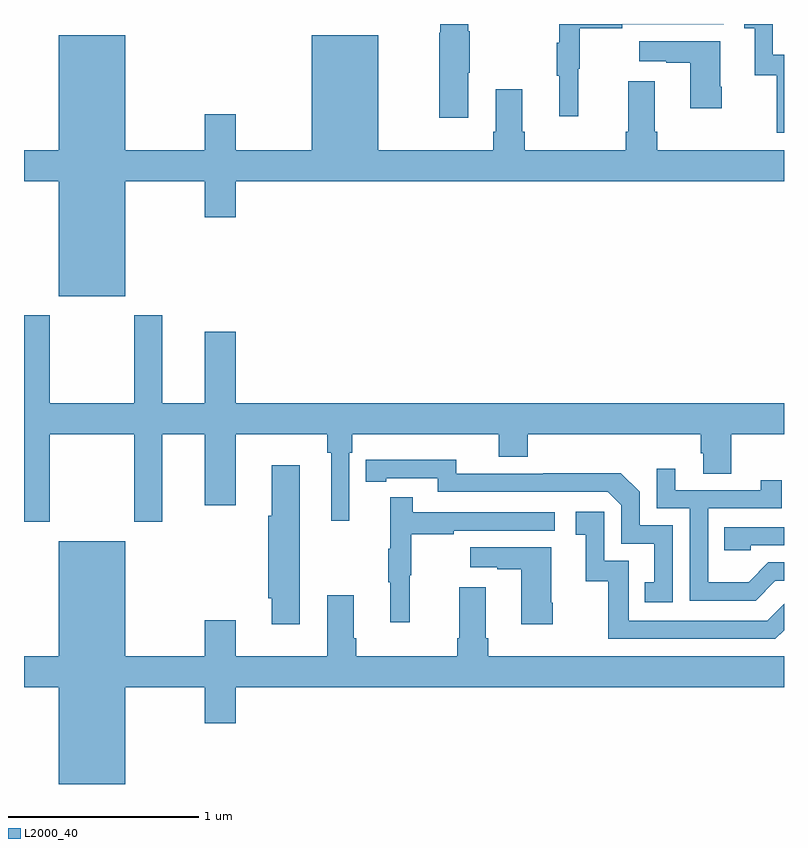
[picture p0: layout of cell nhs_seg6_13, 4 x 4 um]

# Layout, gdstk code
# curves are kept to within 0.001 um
import gdstk
lib = gdstk.Library(unit=1e-6, precision=1e-09)
def P(c, l, *ps):  # polygons
    for p in ps: c.add(gdstk.Polygon(p, *l))
L2000_40 = (2000, 40)

nhs_seg6_13 = lib.new_cell('nhs_seg6_13')
P(nhs_seg6_13, L2000_40, [(113.918,945.264),(113.926,945.264),(113.926,945.478),(114.149,945.478),(114.149,945.498),(114.682,945.498),(114.682,945.5),(113.816,945.5),(113.816,945.401),(113.805,945.401),(113.805,945.227),(113.816,945.227),(113.816,945.015),(113.918,945.015)],
  [(113.338,945.244),(113.346,945.244),(113.346,945.461),(113.338,945.461),(113.338,945.5),(113.192,945.5),(113.192,945.455),(113.185,945.455),(113.185,945.006),(113.338,945.006)],
  [(115,945.339),(114.942,945.339),(114.942,945.5),(114.792,945.5),(114.792,945.477),(114.845,945.477),(114.845,945.231),(114.963,945.231),(114.963,944.928),(115,944.928)],
  [(111.532,944.672),(111.95,944.672),(111.95,944.484),(112.114,944.484),(112.114,944.672),(115,944.672),(115,944.836),(114.332,944.836),(114.332,944.932),(114.319,944.932),(114.319,945.199),(114.179,945.199),(114.179,944.932),(114.167,944.932),(114.167,944.836),(113.636,944.836),(113.636,944.932),(113.623,944.932),(113.623,945.157),(113.483,945.157),(113.483,944.932),(113.471,944.932),(113.471,944.836),(112.864,944.836),(112.864,945.442),(112.514,945.442),(112.514,944.836),(112.114,944.836),(112.114,945.025),(111.95,945.025),(111.95,944.836),(111.532,944.836),(111.532,945.442),(111.182,945.442),(111.182,944.836),(111,944.836),(111,944.672),(111.182,944.672),(111.182,944.066),(111.532,944.066)],
  [(114.672,945.169),(114.664,945.169),(114.664,945.409),(114.237,945.409),(114.237,945.305),(114.38,945.305),(114.38,945.295),(114.506,945.295),(114.506,945.057),(114.672,945.057)],
  [(111.135,943.34),(111.58,943.34),(111.58,942.879),(111.727,942.879),(111.727,943.34),(111.95,943.34),(111.95,942.966),(112.114,942.966),(112.114,943.34),(112.597,943.34),(112.597,943.244),(112.616,943.244),(112.616,942.885),(112.713,942.885),(112.713,943.244),(112.727,943.244),(112.727,943.34),(113.498,943.34),(113.498,943.223),(113.651,943.223),(113.651,943.34),(114.563,943.34),(114.563,943.242),(114.575,943.242),(114.575,943.132),(114.723,943.132),(114.723,943.34),(115,943.34),(115,943.504),(112.114,943.504),(112.114,943.879),(111.95,943.879),(111.95,943.504),(111.727,943.504),(111.727,943.966),(111.58,943.966),(111.58,943.504),(111.135,943.504),(111.135,943.966),(111,943.966),(111,942.879),(111.135,942.879)],
  [(114.414,942.861),(114.24,942.861),(114.24,943.038),(114.142,943.136),(113.734,943.136),(113.734,943.134),(113.274,943.134),(113.274,943.207),(112.798,943.206),(112.798,943.09),(112.906,943.09),(112.906,943.11),(113.178,943.11),(113.178,943.038),(114.072,943.038),(114.144,942.966),(114.144,942.765),(114.317,942.765),(114.317,942.561),(114.268,942.561),(114.268,942.456),(114.414,942.456)],
  [(112.45,943.177),(112.304,943.177),(112.304,942.913),(112.286,942.913),(112.286,942.477),(112.304,942.477),(112.304,942.342),(112.45,942.342)],
  [(114.955,942.57),(115,942.57),(115,942.666),(114.918,942.666),(114.814,942.562),(114.6,942.562),(114.6,942.951),(114.989,942.951),(114.989,943.099),(114.878,943.099),(114.878,943.047),(114.427,943.047),(114.427,943.159),(114.33,943.159),(114.33,942.951),(114.504,942.951),(114.504,942.465),(114.85,942.465)],
  [(113.03,942.6),(113.038,942.6),(113.038,942.814),(113.261,942.814),(113.261,942.834),(113.794,942.834),(113.794,942.93),(113.045,942.93),(113.045,943.009),(112.928,943.009),(112.928,942.737),(112.917,942.737),(112.917,942.563),(112.928,942.563),(112.928,942.351),(113.03,942.351)],
  [(115,942.31),(115,942.448),(114.912,942.36),(114.183,942.36),(114.183,942.675),(114.054,942.675),(114.054,942.934),(113.904,942.934),(113.904,942.813),(113.957,942.813),(113.957,942.567),(114.075,942.567),(114.075,942.264),(114.954,942.264)],
  [(114.825,942.756),(115,942.756),(115,942.852),(114.685,942.852),(114.685,942.729),(114.825,942.729)],
  [(111.532,942.008),(111.95,942.008),(111.95,941.82),(112.114,941.82),(112.114,942.008),(115,942.008),(115,942.172),(113.444,942.172),(113.444,942.268),(113.431,942.268),(113.431,942.535),(113.291,942.535),(113.291,942.268),(113.279,942.268),(113.279,942.172),(112.748,942.172),(112.748,942.268),(112.735,942.268),(112.735,942.493),(112.595,942.493),(112.595,942.172),(112.114,942.172),(112.114,942.361),(111.95,942.361),(111.95,942.172),(111.532,942.172),(111.532,942.778),(111.182,942.778),(111.182,942.172),(111,942.172),(111,942.008),(111.182,942.008),(111.182,941.5),(111.532,941.5)],
  [(113.784,942.454),(113.776,942.454),(113.776,942.745),(113.349,942.745),(113.349,942.641),(113.492,942.641),(113.492,942.631),(113.618,942.631),(113.618,942.342),(113.784,942.342)])

lib.write_gds('nhs_seg6_13.gds')
